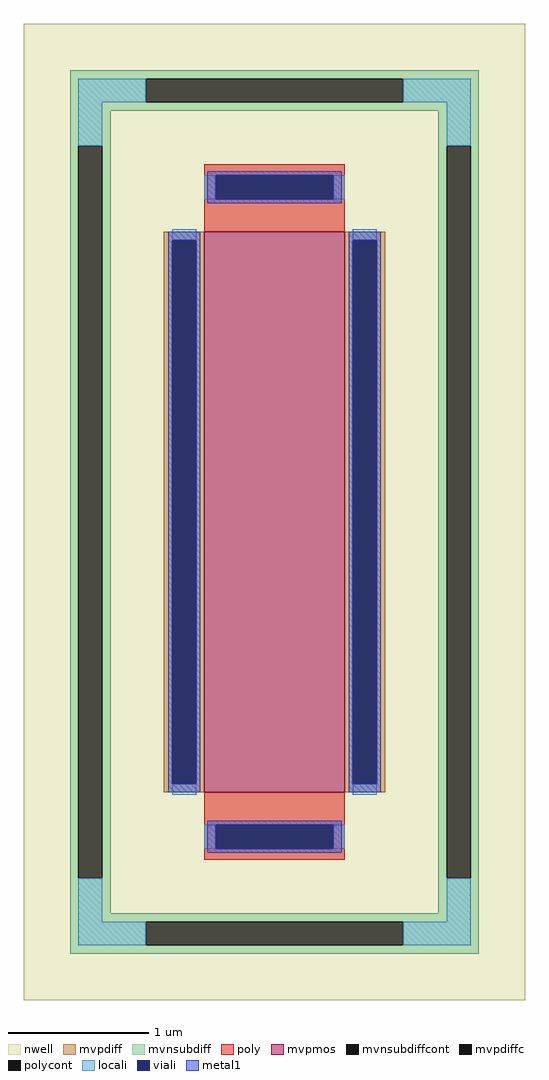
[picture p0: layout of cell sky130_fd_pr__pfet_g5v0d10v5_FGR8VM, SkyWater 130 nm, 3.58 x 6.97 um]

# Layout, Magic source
magic
tech sky130A
magscale 1 2
<< nwell >>
rect -358 -697 358 697
<< mvpmos >>
rect -100 -400 100 400
<< mvpdiff >>
rect -158 388 -100 400
rect -158 -388 -146 388
rect -112 -388 -100 388
rect -158 -400 -100 -388
rect 100 388 158 400
rect 100 -388 112 388
rect 146 -388 158 388
rect 100 -400 158 -388
<< mvpdiffc >>
rect -146 -388 -112 388
rect 112 -388 146 388
<< mvnsubdiff >>
rect -292 619 292 631
rect -292 585 -184 619
rect 184 585 292 619
rect -292 573 292 585
rect -292 523 -234 573
rect -292 -523 -280 523
rect -246 -523 -234 523
rect 234 523 292 573
rect -292 -573 -234 -523
rect 234 -523 246 523
rect 280 -523 292 523
rect 234 -573 292 -523
rect -292 -585 292 -573
rect -292 -619 -184 -585
rect 184 -619 292 -585
rect -292 -631 292 -619
<< mvnsubdiffcont >>
rect -184 585 184 619
rect -280 -523 -246 523
rect 246 -523 280 523
rect -184 -619 184 -585
<< poly >>
rect -100 481 100 497
rect -100 447 -84 481
rect 84 447 100 481
rect -100 400 100 447
rect -100 -447 100 -400
rect -100 -481 -84 -447
rect 84 -481 100 -447
rect -100 -497 100 -481
<< polycont >>
rect -84 447 84 481
rect -84 -481 84 -447
<< locali >>
rect -280 585 -184 619
rect 184 585 280 619
rect -280 523 -246 585
rect 246 523 280 585
rect -100 447 -84 481
rect 84 447 100 481
rect -146 388 -112 404
rect -146 -404 -112 -388
rect 112 388 146 404
rect 112 -404 146 -388
rect -100 -481 -84 -447
rect 84 -481 100 -447
rect -280 -585 -246 -523
rect 246 -585 280 -523
rect -280 -619 -184 -585
rect 184 -619 280 -585
<< viali >>
rect -84 447 84 481
rect -146 -388 -112 388
rect 112 -388 146 388
rect -84 -481 84 -447
<< metal1 >>
rect -96 481 96 487
rect -96 447 -84 481
rect 84 447 96 481
rect -96 441 96 447
rect -152 388 -106 400
rect -152 -388 -146 388
rect -112 -388 -106 388
rect -152 -400 -106 -388
rect 106 388 152 400
rect 106 -388 112 388
rect 146 -388 152 388
rect 106 -400 152 -388
rect -96 -447 96 -441
rect -96 -481 -84 -447
rect 84 -481 96 -447
rect -96 -487 96 -481
<< properties >>
string FIXED_BBOX -263 -602 263 602
string gencell sky130_fd_pr__pfet_g5v0d10v5
string library sky130
string parameters w 4.0 l 1.0 m 1 nf 1 diffcov 100 polycov 100 guard 1 glc 1 grc 1 gtc 1 gbc 1 tbcov 100 rlcov 100 topc 1 botc 1 poverlap 0 doverlap 1 lmin 0.50 wmin 0.42 compatible {sky130_fd_pr__pfet_01v8  sky130_fd_pr__pfet_01v8_lvt sky130_fd_pr__pfet_01v8_hvt  sky130_fd_pr__pfet_g5v0d10v5} full_metal 1 viasrc 100 viadrn 100 viagate 100 viagb 0 viagr 0 viagl 0 viagt 0
<< end >>
